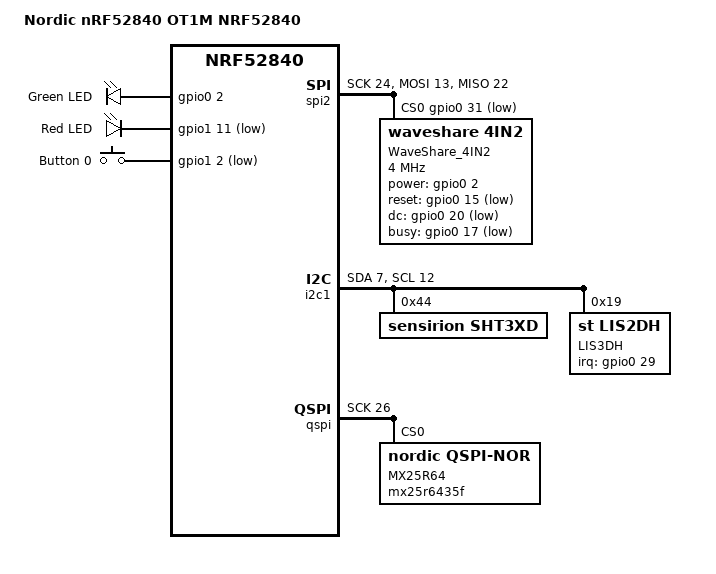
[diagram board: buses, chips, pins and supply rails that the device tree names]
/*
 *
 * SPDX-License-Identifier: Apache-2.0
 */

/dts-v1/;
#include <nordic/nrf52840_qiaa.dtsi>

/ {
	model = "Nordic nRF52840 OT1M NRF52840";
	compatible = "nordic,nrf52840-ot1m-nrf52840";

	chosen {
		zephyr,console = &uart0;
		zephyr,sram = &sram0;
		zephyr,flash = &flash0;
		zephyr,code-partition = &slot0_partition;
	};

	leds {
		compatible = "gpio-leds";
		led0: led_0 {
			gpios = <&gpio0 2 GPIO_ACTIVE_HIGH>;
			label = "Green LED";
		};
		led1: led_1 {
            gpios = <&gpio1 11 GPIO_ACTIVE_LOW>;
            label = "Red LED";
        };
	};
	buttons {
        compatible = "gpio-keys";
        button0: button_0 {
            gpios = <&gpio1 2 (GPIO_PULL_UP | GPIO_ACTIVE_LOW)>;
            label = "Button 0";
        };
    };
    aliases {
        btnapp = &button0;
    };
};

&gpio0 {
	status = "okay";
};

&gpiote {
	status = "okay";
};

&flash0 {
	/*
	 * For more information, see:
	 * http://docs.zephyrproject.org/latest/guides/dts/index.html#flash-partitions
	 */
	partitions {
		compatible = "fixed-partitions";
		#address-cells = <1>;
		#size-cells = <1>;

		boot_partition: partition@0 {
			label = "mcuboot";
			reg = <0x000000000 0x00010000>;
		};
		slot0_partition: partition@10000 {
			label = "image-0";
			reg = <0x00010000 0x00065000>;
		};
		slot1_partition: partition@75000 {
			label = "image-1";
			reg = <0x00075000 0x00065000>;
		};
		scratch_partition: partition@da000 {
			label = "image-scratch";
			reg = <0x000da000 0x0001e000>;
		};

		/*
		 * The flash starting at 0x000f8000 and ending at
		 * 0x000fffff is reserved for use by the application.
		 */

		/*
		 * Storage partition will be used by FCB/LittleFS/NVS
		 * if enabled.
		 */
		storage_partition: partition@f8000 {
			label = "storage";
			reg = <0x000f8000 0x00008000>;
		};
	};
};


&gpio0 {
	status = "okay";
};

&spi2 {
	compatible = "nordic,nrf-spi";
	status = "okay";
	sck-pin = <24>;
	mosi-pin = <13>;
	miso-pin = <22>;
	cs-gpios = <&gpio0 31 GPIO_ACTIVE_LOW>;

	waveshare4in2@0 {
		compatible = "waveshare,4in2";
		label = "WaveShare_4IN2";
		spi-max-frequency = <4000000>;
		reg = <0>;
		power-gpios = <&gpio0 2 GPIO_ACTIVE_HIGH>;
		reset-gpios = <&gpio0 15 GPIO_ACTIVE_LOW>;
		dc-gpios = <&gpio0 20 GPIO_ACTIVE_LOW>;
		busy-gpios = <&gpio0 17 GPIO_ACTIVE_LOW>;
	};
};

&i2c1 {
	compatible = "nordic,nrf-twi";
	/* Cannot be used together with spi1. */
	status = "okay";
	sda-pin = <7>;
	scl-pin = <12>;
	sht3xd@44 {
		compatible = "sensirion,sht3xd";
		reg = <0x44>;
		label = "SHT3XD";
	};
	lis3dh@19 {
		compatible = "st,lis2dh", "st,lis3dh";
		reg = <0x19>;
		label = "LIS3DH";
		irq-gpios = <&gpio0 29 0>;
	};
};


&qspi {
	status = "okay";
	sck-pin = <26>;
	io-pins = <6>, <4>, <8>, <5>;
	csn-pins = <30>;
	mx25r64: mx25r6435f@0 {
		compatible = "nordic,qspi-nor";
		reg = <0>;
		/* MX24R64 supports only pp and pp4io */
		writeoc = "pp4io";
		/* MX24R64 supports all readoc options */
		readoc = "read4io";
		sck-frequency = <8000000>;
		label = "MX25R64";
		jedec-id = [ef 40 18];
		sfdp-bfp = [
			e5 20 f1 ff  ff ff ff 03  44 eb 08 6b  08 3b 04 bb
			ee ff ff ff  ff ff 00 ff  ff ff 00 ff  0c 20 0f 52
			10 d8 00 ff  23 72 f5 00  82 ed 04 cc  44 83 68 44
			30 b0 30 b0  f7 c4 d5 5c  00 be 29 ff  f0 d0 ff ff
		];
		size = <67108864>;
		has-dpd;
		t-enter-dpd = <10000>;
		t-exit-dpd = <35000>;
	};
};

